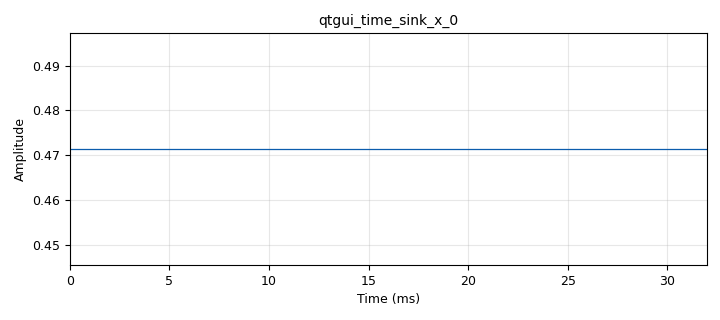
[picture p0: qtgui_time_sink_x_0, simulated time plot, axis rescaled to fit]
options:
  parameters:
    author: Diego_Palencia
    generate_options: qt_gui
    id: Desviacion
    output_language: python
    title: Prueba desviación estandar
  states: {}

blocks:
- name: samp_rate
  id: variable
  parameters:
    value: '32000'
  states: {}
- name: blocks_throttle_0
  id: blocks_throttle
  parameters:
    samples_per_second: samp_rate
    type: float
  states: {}
- name: blocks_vector_source_x_0
  id: blocks_vector_source_x
  parameters:
    repeat: 'True'
    type: float
    vector: (1,0,1)
  states: {}
- name: epy_block_0
  id: epy_block
  parameters:
    _source_code: |
      import numpy as np
      from gnuradio import gr


      class blk(gr.sync_block):
      	def __init__( self ) : # only default arguments here
      		gr.sync_block.__init__(
      		self,
      		name ="Desviacion estandar", # will show up in GRC
      		in_sig =[np.float32],
      		out_sig =[np.float32]
      		)	
      	def work(self, input_items, output_items ):
      		x = input_items[0] # Senial de entrada .
      		y0 = output_items[0] # Senial acumulada
      		y0 [:] = np.sqrt(np.var(x))
      		return len(y0)
  states: {}
- name: qtgui_time_sink_x_0
  id: qtgui_time_sink_x
  parameters:
    size: '1024'
    srate: samp_rate
    type: float
  states: {}

connections:
- [blocks_throttle_0, '0', epy_block_0, '0']
- [blocks_vector_source_x_0, '0', blocks_throttle_0, '0']
- [epy_block_0, '0', qtgui_time_sink_x_0, '0']

metadata:
  file_format: 1
